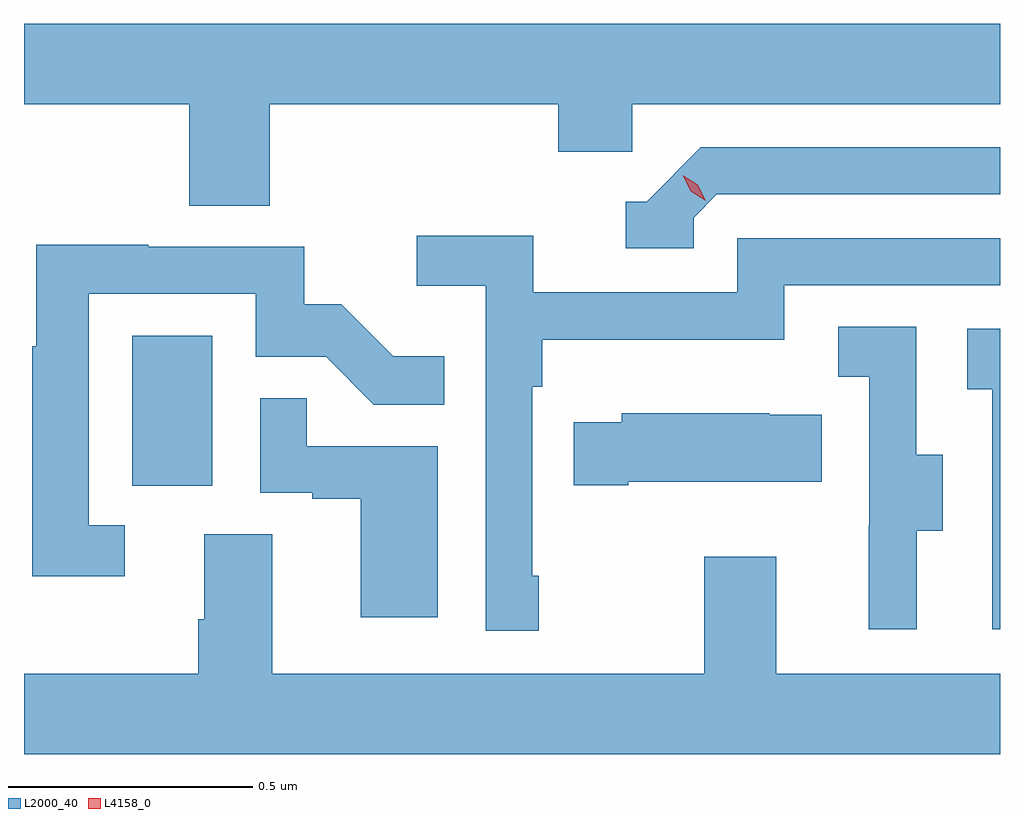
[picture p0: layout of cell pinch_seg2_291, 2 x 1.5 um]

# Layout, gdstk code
import gdstk
lib = gdstk.Library(unit=1e-6, precision=1e-09)
def R(c, l, rs):  # rectangles x0, y0, x1, y1
    for r in rs: c.add(gdstk.rectangle(r[:2], r[2:], *l))
def P(c, l, *ps):  # polygons
    for p in ps: c.add(gdstk.Polygon(p, *l))
L2000_40 = (2000, 40)
L4158_0 = (4158, 0)

pinch_seg2_291 = lib.new_cell('pinch_seg2_291')
R(pinch_seg2_291, L2000_40, [(911.462,633.534,911.626,633.841)])
P(pinch_seg2_291, L2000_40, [(911.744,634.316),(912.335,634.316),(912.335,634.218),(912.486,634.218),(912.486,634.316),(913.24,634.316),(913.24,634.48),(911.24,634.48),(911.24,634.316),(911.579,634.316),(911.579,634.108),(911.744,634.108)],
  [(912.612,634.083),(912.66,634.131),(913.24,634.131),(913.24,634.227),(912.627,634.227),(912.516,634.116),(912.473,634.116),(912.473,634.02),(912.612,634.02)],
  [(912.295,633.349),(912.282,633.349),(912.282,633.737),(912.302,633.737),(912.302,633.833),(912.798,633.833),(912.798,633.945),(913.24,633.945),(913.24,634.041),(912.702,634.041),(912.702,633.93),(912.284,633.93),(912.284,634.046),(912.045,634.046),(912.045,633.944),(912.186,633.944),(912.186,633.237),(912.295,633.237)],
  [(911.446,633.453),(911.373,633.453),(911.373,633.927),(911.715,633.927),(911.715,633.798),(911.859,633.798),(911.957,633.7),(912.101,633.7),(912.101,633.799),(911.997,633.799),(911.89,633.906),(911.814,633.906),(911.814,634.023),(911.495,634.023),(911.495,634.028),(911.265,634.028),(911.265,633.82),(911.257,633.82),(911.257,633.348),(911.446,633.348)],
  [(913.069,633.442),(913.123,633.442),(913.123,633.597),(913.068,633.597),(913.068,633.86),(912.909,633.86),(912.909,633.757),(912.972,633.757),(912.972,633.453),(912.971,633.453),(912.971,633.24),(913.069,633.24)],
  [(913.24,633.855),(913.173,633.855),(913.173,633.731),(913.224,633.731),(913.224,633.24),(913.24,633.24)],
  [(912.088,633.615),(911.819,633.615),(911.819,633.713),(911.724,633.713),(911.724,633.519),(911.831,633.519),(911.831,633.507),(911.93,633.507),(911.93,633.264),(912.088,633.264)],
  [(912.478,633.542),(912.875,633.542),(912.875,633.679),(912.767,633.679),(912.767,633.682),(912.465,633.682),(912.465,633.664),(912.367,633.664),(912.367,633.535),(912.478,633.535)],
  [(913.24,633.148),(912.781,633.148),(912.781,633.388),(912.634,633.388),(912.634,633.148),(911.749,633.148),(911.749,633.434),(911.609,633.434),(911.609,633.26),(911.597,633.26),(911.597,633.148),(911.24,633.148),(911.24,632.984),(913.24,632.984)])
P(pinch_seg2_291, L4158_0, [(912.637,634.118),(912.606,634.137),(912.59,634.17),(912.59,634.17),(912.59,634.17),(912.621,634.151),(912.637,634.118),(912.637,634.118)])

lib.write_gds('pinch_seg2_291.gds')
